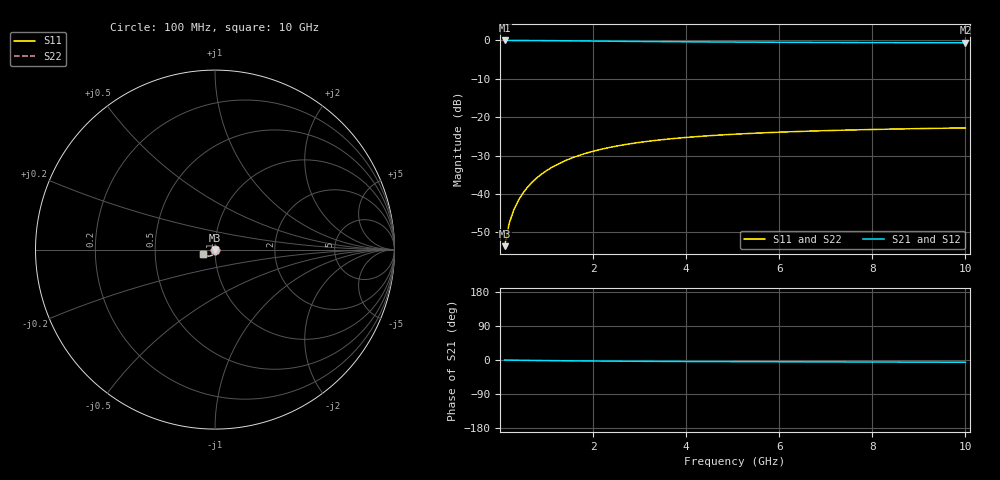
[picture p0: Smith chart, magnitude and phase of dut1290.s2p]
! Touchstone file exported from HFSS 2024.1.0
!  File:  C:/UserFiles/LocalFiles/RDL_TSV_Batchsim/temp_TSV1_1290_1780256021.aedt
!  Generated:  03:38:59 AM Jun  1, 2026
!  Design:  TSV1
!  Project:  temp_TSV1_1290_1780256021
!  Setup:  Setup1
!  Solution:  Sweep
! Variables:
!  dtsv = 14.37um
!  hbump = 3um
!  htsv = 90.48um
!  lrdl = 252.1521522um
!  p = 40
!  p1 = 48.37um
!  t = 500um
!  trdl = 3um
!  wrdl = 24.89489489um
# GHz S MA R 50.000000
! Terminal data exported
! Port[1] = TSV22_T1
! Port[2] = TSV22_T2
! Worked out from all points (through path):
!   100 points, 100 MHz to 10 GHz, reference 50 ohm
!   highest |S21| = 0.00 dB at 100 MHz (marker M1); lowest = -0.6 dB at 10 GHz (marker M2)
!   lowest |S11| = -53.6 dB at 100 MHz (marker M3), VSWR 1.00, Z = 50 - j0.209 ohm
!   |S11| at or under -10 dB: start of sweep to end of sweep
!   |S22| runs from -53.6 to -22.8 dB; largest |S21 - S12| = 8.1e-15
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0.1  0.002087 -89.2  0.9998 -0.2  0.9998 -0.2  0.002087 -89.2
! Gamma 0 0 0 0
! Port Impedance 50 0 50 0
0.2  0.004173 -91.9  0.9996 -0.3  0.9996 -0.3  0.004173 -92.0
0.3  0.006257 -94.0  0.9993 -0.5  0.9993 -0.5  0.006257 -94.0
0.4  0.008329 -95.8  0.9989 -0.7  0.9989 -0.7  0.008329 -95.8
0.5  0.01038 -97.6  0.9983 -0.8  0.9983 -0.8  0.01038 -97.6
0.6  0.0124 -99.4  0.9977 -1.0  0.9977 -1.0  0.0124 -99.4
0.7  0.01439 -101.1  0.9969 -1.1  0.9969 -1.1  0.01439 -101.1
0.8  0.01635 -102.7  0.9961 -1.3  0.9961 -1.3  0.01635 -102.7
0.9  0.01826 -104.4  0.9952 -1.4  0.9952 -1.4  0.01826 -104.4
1.1  0.02194 -107.5  0.9932 -1.7  0.9932 -1.7  0.02194 -107.5
1.4  0.02709 -111.9  0.9898 -2.1  0.9898 -2.1  0.02709 -111.9
1.6  0.03026 -114.7  0.9874 -2.3  0.9874 -2.3  0.03026 -114.7
1.8  0.03321 -117.3  0.9848 -2.5  0.9848 -2.5  0.03321 -117.3
2.1  0.03726 -120.9  0.981 -2.8  0.981 -2.8  0.03726 -120.9
2.5  0.04198 -125.3  0.9761 -3.1  0.9761 -3.1  0.04198 -125.3
2.9  0.04603 -129.1  0.9714 -3.3  0.9714 -3.3  0.04603 -129.1
3.4  0.05029 -133.3  0.9661 -3.6  0.9661 -3.6  0.05029 -133.3
4.2  0.05569 -138.8  0.9588 -4.0  0.9588 -4.0  0.05569 -138.8
5.1  0.06028 -143.7  0.9522 -4.3  0.9522 -4.3  0.06028 -143.7
6.7  0.06597 -150.3  0.9435 -4.9  0.9435 -4.9  0.06597 -150.3
8.4  0.06994 -155.4  0.9371 -5.4  0.9371 -5.4  0.06994 -155.4
10  0.07251 -159.1  0.9329 -5.9  0.9329 -5.9  0.07251 -159.1
